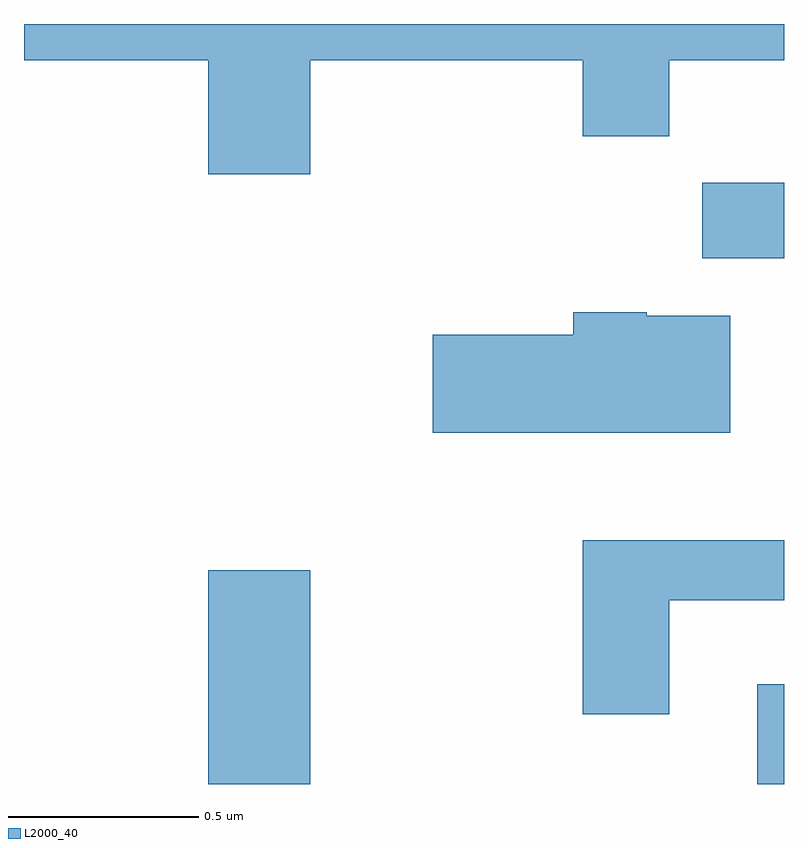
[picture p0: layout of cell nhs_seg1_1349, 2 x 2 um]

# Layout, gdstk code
import gdstk
lib = gdstk.Library(unit=1e-6, precision=1e-09)
def R(c, l, rs):  # rectangles x0, y0, x1, y1
    for r in rs: c.add(gdstk.rectangle(r[:2], r[2:], *l))
def P(c, l, *ps):  # polygons
    for p in ps: c.add(gdstk.Polygon(p, *l))
L2000_40 = (2000, 40)

nhs_seg1_1349 = lib.new_cell('nhs_seg1_1349')
R(nhs_seg1_1349, L2000_40, [(195.096,968.712,195.364,969.274), (196.541,968.712,196.611,968.974), (196.396,970.096,196.611,970.294)])
P(nhs_seg1_1349, L2000_40, [(195.364,970.616),(196.081,970.616),(196.081,970.416),(196.309,970.416),(196.309,970.616),(196.611,970.616),(196.611,970.712),(194.611,970.712),(194.611,970.616),(195.096,970.616),(195.096,970.316),(195.364,970.316)],
  [(196.469,969.944),(196.25,969.944),(196.25,969.954),(196.056,969.954),(196.056,969.894),(195.686,969.894),(195.686,969.636),(196.469,969.636)],
  [(196.309,969.196),(196.611,969.196),(196.611,969.354),(196.081,969.354),(196.081,968.896),(196.309,968.896)])

lib.write_gds('nhs_seg1_1349.gds')
